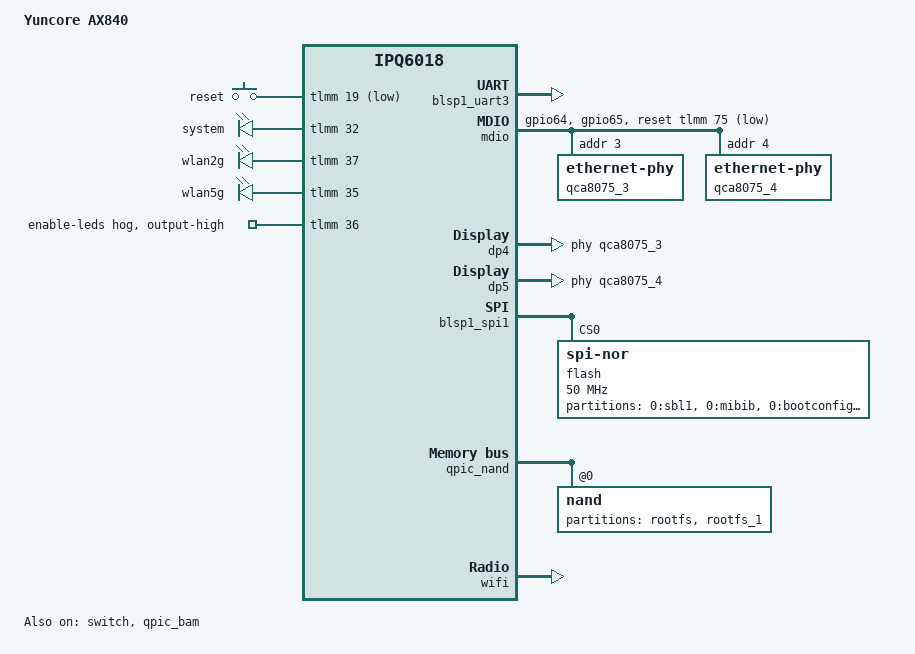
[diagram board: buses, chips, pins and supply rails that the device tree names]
// SPDX-License-Identifier: MIT, GPL-2.0 or later
/* Copyright (c) 2023, Ruslan Isaev <legale.legale@gmail.com> */

/dts-v1/;


#include "ipq6018.dtsi"
#include "ipq6018-ess.dtsi"
#include "ipq6018-512m.dtsi"
#include "ipq6018-nss.dtsi"

#include <dt-bindings/input/input.h>
#include <dt-bindings/gpio/gpio.h>

/ {
	model = "Yuncore AX840";
	compatible = "yuncore,ax840", "qcom,ipq6018-cp03", "qcom,ipq6018";
	
	/delete-node/ rpm-glink;
	
	aliases {
		ethernet0 = &dp5;
		ethernet1 = &dp4;
		serial0 = &blsp1_uart3;
		led-boot = &led_system;
		led-failsafe = &led_system;
		led-running = &led_system;
		led-upgrade = &led_system;
	};

	chosen {
		stdout-path = "serial0:115200n8";
		bootargs-append = " root=/dev/ubiblock0_1 earlycon debug iomem=relaxed";
	};

	keys {
		compatible = "gpio-keys";

		reset {
			label = "reset";
			gpios = <&tlmm 19 GPIO_ACTIVE_LOW>;
			linux,code = <KEY_RESTART>;
		};
	};

	leds {
		compatible = "gpio-leds";

		led_system: led_system {
			label = "system";
			color = "red";
			gpios = <&tlmm 32 GPIO_ACTIVE_HIGH>;
		};

		led_wlan2g {
			label = "wlan2g";
			color = "green";
			gpios = <&tlmm 37 GPIO_ACTIVE_HIGH>;
		};

		led_wlan5g {
			label = "wlan5g";
			color = "blue";
			gpios = <&tlmm 35 GPIO_ACTIVE_HIGH>;
		};
	};
};

&soc {
	q6v5_m3: q6v5_m3 {
		compatible = "qca,q6v5-m3-rproc";
		firmware = "IPQ6018/m3_fw.mdt";
		qca,auto-restart;
		qcom,restart-group = <&q6v5_m3 &q6v5_wcss>;
	};
};

&blsp1_uart3 {
	pinctrl-0 = <&serial_3_pins>;
	pinctrl-names = "default";
	status = "okay";
};

&tlmm {
	mdio_pins: mdio-pins {
		mdc {
			pins = "gpio64";
			function = "mdc";
			drive-strength = <8>;
			bias-pull-up;
		};

		mdio {
			pins = "gpio65";
			function = "mdio";
			drive-strength = <8>;
			bias-pull-up;
		};
	};

	led_enable {
		gpio-hog;
		output-high;
		gpios = <36 GPIO_ACTIVE_HIGH>;
		line-name = "enable-leds";
	};
};

&mdio {
	status = "okay";
	pinctrl-0 = <&mdio_pins>;
	pinctrl-names = "default";
	reset-gpios = <&tlmm 75 GPIO_ACTIVE_LOW>;
	reset-delay-us = <10000>;
	reset-post-delay-us = <50000>;

	qca8075_3: ethernet-phy@3 {
		reg = <3>;
	};

	qca8075_4: ethernet-phy@4 {
		reg = <4>;
	};
};

&switch {
	status = "okay";
	switch_cpu_bmp =   <ESS_PORT0>; /* cpu port bitmap */
	switch_lan_bmp =   <ESS_PORT4>; /* lan port bitmap */
	switch_wan_bmp =   <ESS_PORT5>; /* wan port bitmap */
	switch_inner_bmp = <0xc0>; /*inner port bitmap - ESS_PORT6 | ESS_PORT7 */
	switch_mac_mode =  <MAC_MODE_PSGMII>; /* mac mode for uniphy instance0*/
	switch_mac_mode1 = <MAC_MODE_DISABLED>; /* mac mode for uniphy instance1*/
	switch_mac_mode2 = <MAC_MODE_DISABLED>; /* mac mode for uniphy instance2*/

	qcom,port_phyinfo {
		port@3 {
			port_id = <0x04>;
			phy_address = <0x03>;
		};

		port@4 {
			port_id = <0x05>;
			phy_address = <0x04>;
		};
	};
};

&edma {
	status = "okay";
};

&dp4 {
	status = "okay";
	phy-handle = <&qca8075_3>;
	label = "lan";
};

&dp5 {
	status = "okay";
	phy-handle = <&qca8075_4>;
	label = "wan";
};

&qpic_bam {
	status = "okay";
};

&blsp1_spi1 {
	status = "okay";
	
	partitions {
		status = "disabled";
	};

	flash@0 {
		#address-cells = <1>;
		#size-cells = <1>;
		reg = <0>;
		compatible = "jedec,spi-nor";
		spi-max-frequency = <50000000>;

		partitions {
			compatible = "fixed-partitions";


			partition@0 {
				reg = <0x00 0xc0000>;
				label = "0:sbl1";
			};

			partition@c0000 {
				reg = <0xc0000 0x10000>;
				label = "0:mibib";
			};

			partition@d0000 {
				reg = <0xd0000 0x20000>;
				label = "0:bootconfig";
			};

			partition@f0000 {
				reg = <0xf0000 0x20000>;
				label = "0:bootconfig1";
			};

			partition@110000 {
				reg = <0x110000 0x1a0000>;
				label = "0:qsee";
			};

			partition@2b0000 {
				reg = <0x2b0000 0x1a0000>;
				label = "0:qsee_1";
			};

			partition@450000 {
				reg = <0x450000 0x10000>;
				label = "0:devcfg";
			};

			partition@460000 {
				reg = <0x460000 0x10000>;
				label = "0:devcfg_1";
			};

			partition@470000 {
				reg = <0x470000 0x40000>;
				label = "0:rpm";
			};

			partition@4b0000 {
				reg = <0x4b0000 0x40000>;
				label = "0:rpm_1";
			};

			partition@4f0000 {
				reg = <0x4f0000 0x10000>;
				label = "0:cdt";
			};

			partition@500000 {
				reg = <0x500000 0x10000>;
				label = "0:cdt_1";
			};

			partition@510000 {
				reg = <0x510000 0x10000>;
				label = "0:appsblenv";
			};

			partition@520000 {
				reg = <0x520000 0xa0000>;
				label = "0:appsbl";
			};

			partition@5c0000 {
				reg = <0x5c0000 0xa0000>;
				label = "0:appsbl_1";
			};

			partition@660000 {
				reg = <0x660000 0x40000>;
				label = "0:art";
			};

		};
	};
};

&qpic_nand {
	status = "okay";
	partitions {
		status = "disabled";
	};

	nand@0 {
		reg = <0>;

		nand-ecc-strength = <4>;
		nand-ecc-step-size = <512>;
		nand-bus-width = <8>;
	

		partitions {
			compatible = "fixed-partitions";
			#address-cells = <1>;
			#size-cells = <1>;

			partition@0 {
				label = "rootfs";
				reg = <0x0 0x3c00000>;
			};
			partition@3c00000 {
				label = "rootfs_1";
				reg = <0x3c00000 0x3c00000>;
			};
		};
	};
};

&wifi {
 	qcom,ath11k-calibration-variant = "Yuncore-AX840";
	qcom,tgt-mem-mode = <1>;
	qcom,ath11k-fw-memory-mode = <1>;
	status = "okay";
};

&CPU0 {
	/delete-property/ cpu-supply;
};

&CPU1 {
	/delete-property/ cpu-supply;
};

&CPU2 {
	/delete-property/ cpu-supply;
};

&CPU3 {
	/delete-property/ cpu-supply;
};

